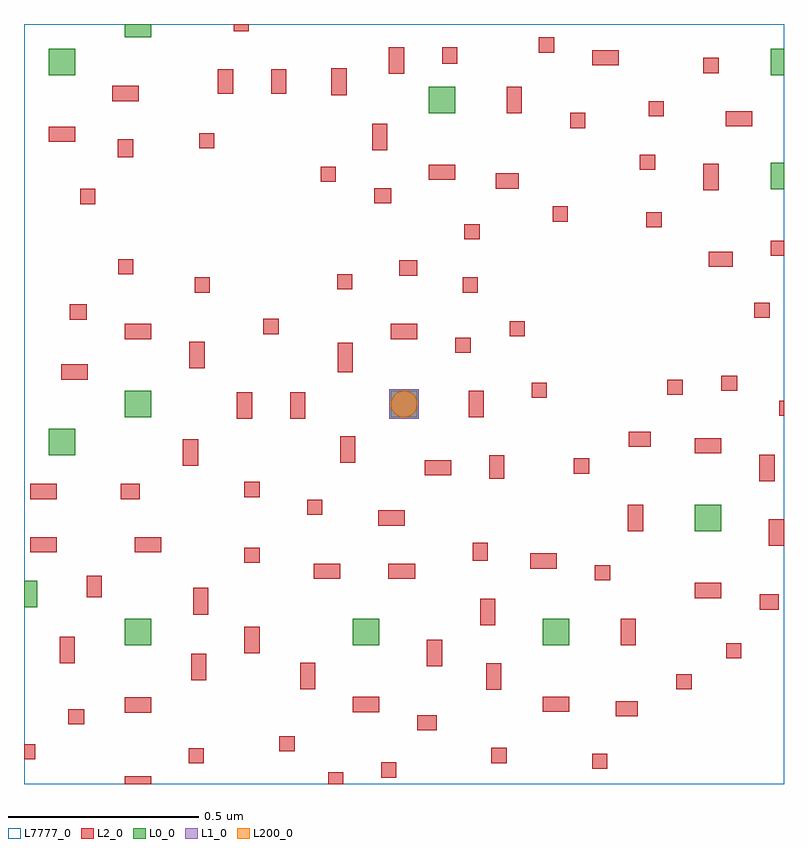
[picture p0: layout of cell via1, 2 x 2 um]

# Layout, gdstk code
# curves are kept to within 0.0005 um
import gdstk
lib = gdstk.Library(unit=1e-6, precision=1e-09)
def R(c, l, rs):  # rectangles x0, y0, x1, y1
    for r in rs: c.add(gdstk.rectangle(r[:2], r[2:], *l))
def P(c, l, *ps):  # polygons
    for p in ps: c.add(gdstk.Polygon(p, *l))
L0_0 = (0, 0)
L1_0 = (1, 0)
L2_0 = (2, 0)
L200_0 = (200, 0)
L7777_0 = (7777, 0)

via1 = lib.new_cell('via1')
R(via1, L0_0, [(84.715,91.265,84.785,91.335), (85.315,91.265,85.385,91.335), (85.815,91.265,85.885,91.335), (84.45,91.365,84.485,91.435), (86.215,91.565,86.285,91.635), (84.515,91.765,84.585,91.835), (84.715,91.865,84.785,91.935), (85.415,91.865,85.485,91.935), (86.415,92.465,86.45,92.535), (85.515,92.665,85.585,92.735), (84.515,92.765,84.585,92.835), (86.415,92.765,86.45,92.835), (84.715,92.865,84.785,92.9)])
R(via1, L1_0, [(85.411,91.861,85.489,91.939)])
R(via1, L2_0, [(84.715,90.9,84.785,90.92), (85.25,90.9,85.29,90.931), (85.39,90.917,85.43,90.957), (85.945,90.94,85.985,90.98), (84.883,90.954,84.923,90.994), (85.68,90.955,85.72,90.995), (84.45,90.965,84.48,91.005), (85.122,90.986,85.162,91.026), (85.485,91.041,85.536,91.081), (84.566,91.057,84.609,91.097), (86.007,91.078,86.065,91.118), (84.715,91.088,84.785,91.128), (85.315,91.089,85.385,91.129), (85.815,91.09,85.885,91.13), (85.666,91.148,85.706,91.218), (85.177,91.149,85.217,91.219), (86.167,91.149,86.207,91.189), (84.89,91.173,84.93,91.243), (85.51,91.21,85.55,91.28), (84.544,91.218,84.584,91.288), (86.298,91.231,86.338,91.271), (85.03,91.244,85.07,91.314), (86.02,91.265,86.06,91.335), (85.65,91.318,85.69,91.388), (84.895,91.346,84.935,91.416), (86.386,91.359,86.436,91.399), (86.215,91.389,86.285,91.429), (84.615,91.392,84.655,91.448), (85.952,91.436,85.993,91.476), (85.212,91.44,85.282,91.48), (85.409,91.44,85.479,91.48), (85.782,91.467,85.852,91.507), (85.03,91.482,85.07,91.522), (85.631,91.488,85.671,91.535), (84.466,91.51,84.536,91.55), (84.741,91.51,84.811,91.55), (86.41,91.527,86.45,91.597), (86.039,91.565,86.079,91.635), (85.382,91.58,85.452,91.62), (85.195,91.608,85.235,91.648), (84.466,91.65,84.536,91.69), (84.704,91.65,84.755,91.69), (85.03,91.655,85.07,91.695), (86.385,91.697,86.425,91.767), (85.674,91.703,85.714,91.765), (85.504,91.712,85.574,91.752), (85.897,91.717,85.937,91.757), (84.868,91.737,84.908,91.807), (85.282,91.745,85.322,91.815), (86.215,91.77,86.285,91.81), (86.042,91.787,86.099,91.827), (85.01,91.861,85.05,91.931), (85.15,91.861,85.19,91.931), (85.62,91.865,85.66,91.935), (86.437,91.869,86.45,91.909), (85.786,91.916,85.826,91.956), (86.143,91.924,86.183,91.964), (86.285,91.935,86.327,91.975), (84.548,91.964,84.618,92.004), (85.275,91.984,85.315,92.061), (84.885,91.994,84.925,92.064), (85.585,92.035,85.625,92.075), (84.715,92.071,84.785,92.111), (85.415,92.071,85.485,92.111), (85.728,92.078,85.768,92.118), (85.08,92.084,85.12,92.124), (84.57,92.122,84.615,92.162), (86.372,92.127,86.412,92.167), (84.899,92.193,84.939,92.233), (85.604,92.193,85.644,92.233), (85.274,92.202,85.314,92.242), (85.438,92.238,85.485,92.278), (84.698,92.241,84.738,92.281), (86.252,92.261,86.315,92.301), (86.415,92.29,86.45,92.33), (85.609,92.333,85.649,92.373), (86.088,92.365,86.128,92.405), (85.841,92.38,85.881,92.42), (84.598,92.426,84.638,92.466), (85.372,92.428,85.417,92.468), (86.238,92.462,86.278,92.532), (85.691,92.467,85.752,92.507), (85.231,92.485,85.271,92.525), (85.515,92.49,85.585,92.53), (86.071,92.516,86.111,92.556), (84.697,92.55,84.737,92.597), (85.366,92.568,85.406,92.638), (84.911,92.573,84.951,92.613), (84.515,92.59,84.585,92.63), (85.887,92.626,85.927,92.666), (86.297,92.631,86.367,92.671), (86.094,92.657,86.134,92.697), (85.72,92.665,85.76,92.735), (84.682,92.697,84.752,92.737), (85.259,92.713,85.299,92.783), (84.96,92.717,85,92.781), (85.1,92.717,85.14,92.781), (85.41,92.769,85.45,92.839), (86.238,92.77,86.278,92.811), (85.945,92.791,86.015,92.831), (85.55,92.795,85.59,92.839), (85.804,92.825,85.845,92.865), (85.002,92.881,85.042,92.9)])
P(via1, L200_0, [(85.452,91.864),(85.442,91.865),(85.431,91.87),(85.424,91.876),(85.416,91.888),(85.415,91.897),(85.415,91.907),(85.424,91.923),(85.433,91.931),(85.452,91.936),(85.47,91.93),(85.479,91.921),(85.485,91.907),(85.483,91.888),(85.479,91.88),(85.47,91.871),(85.461,91.866)])
R(via1, L7777_0, [(84.45,90.9,86.45,92.9)])

lib.write_gds('via1.gds')
